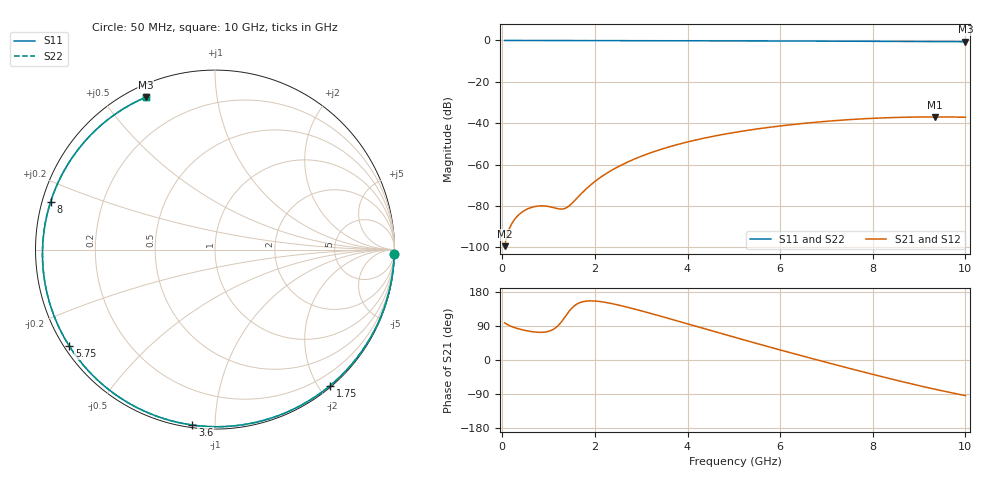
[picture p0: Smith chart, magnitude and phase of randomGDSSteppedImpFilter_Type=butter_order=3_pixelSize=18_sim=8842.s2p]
! freq	dB(S11)	phase(S11)	dB(S12)	phase(S12)
!  dB(S21)	phase(S21)	dB(S22)	phase(S22)
!S-par simulation data
#  GHz  S  DB  R 50
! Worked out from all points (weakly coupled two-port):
!   200 points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, 50 MHz to 10 GHz, reference 50 ohm
!   highest |S21| = -36.98 dB at 9.35 GHz (marker M1); lowest = -99.5 dB at 50 MHz (marker M2)
!   lowest |S11| = -0.6 dB at 10 GHz (marker M3), VSWR 28.62, Z = 2.47 + j32.2 ohm
!   |S11| at or under -10 dB: nowhere
!   |S22| runs from -0.6 to 0.0 dB; largest |S21 - S12| = 0
!   S11 on the Smith chart (normalised r, x): 50 MHz: 1, -81; 1.75 GHz: 0.02, -2.15; 3.6 GHz: 0.01, -0.88; 5.75 GHz: 0.01, -0.30; 8 GHz: 0.02, +0.14; 10 GHz: 0.05, +0.64
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0.05  -0.00 -1.4  -99.47 98.1  -99.47 98.1  -0.00 -1.4
0.4  -0.02 -11.6  -83.45 80.7  -83.45 80.7  -0.02 -11.6
0.7  -0.03 -20.3  -80.32 73.9  -80.32 73.9  -0.03 -20.3
1.05  -0.04 -30.3  -80.52 77.8  -80.52 77.8  -0.04 -30.3
1.45  -0.05 -41.5  -79.89 129.8  -79.89 129.8  -0.05 -41.5
1.75  -0.06 -49.8  -73.09 154.1  -73.09 154.1  -0.06 -49.8
2.05  -0.07 -57.9  -67.33 155.1  -67.33 155.1  -0.07 -57.9
2.45  -0.09 -68.5  -61.66 146.6  -61.66 146.6  -0.09 -68.5
2.9  -0.10 -80.1  -56.91 133.0  -56.91 133.0  -0.10 -80.1
3.4  -0.12 -92.5  -52.85 116.3  -52.85 116.3  -0.12 -92.5
3.6  -0.13 -97.4  -51.48 109.4  -51.48 109.4  -0.13 -97.4
4.3  -0.15 -113.9  -47.52 84.9  -47.52 84.9  -0.15 -113.9
5.05  -0.19 -130.9  -44.33 58.8  -44.33 58.8  -0.19 -130.9
5.75  -0.23 -146.4  -42.04 34.9  -42.04 34.9  -0.23 -146.4
6.25  -0.27 -157.3  -40.71 18.2  -40.71 18.2  -0.27 -157.3
6.7  -0.30 -167.2  -39.69 3.5  -39.69 3.5  -0.30 -167.2
7.35  -0.35 178.4  -38.50 -17.5  -38.50 -17.5  -0.35 178.5
8  -0.41 163.7  -37.65 -38.0  -37.65 -38.0  -0.41 163.8
8.35  -0.44 155.6  -37.34 -48.7  -37.34 -48.7  -0.44 155.6
8.85  -0.49 143.6  -37.06 -63.4  -37.06 -63.4  -0.49 143.7
9.35  -0.54 131.2  -36.98 -77.3  -36.98 -77.3  -0.54 131.3
10  -0.61 114.4  -37.12 -93.9  -37.12 -93.9  -0.61 114.5
